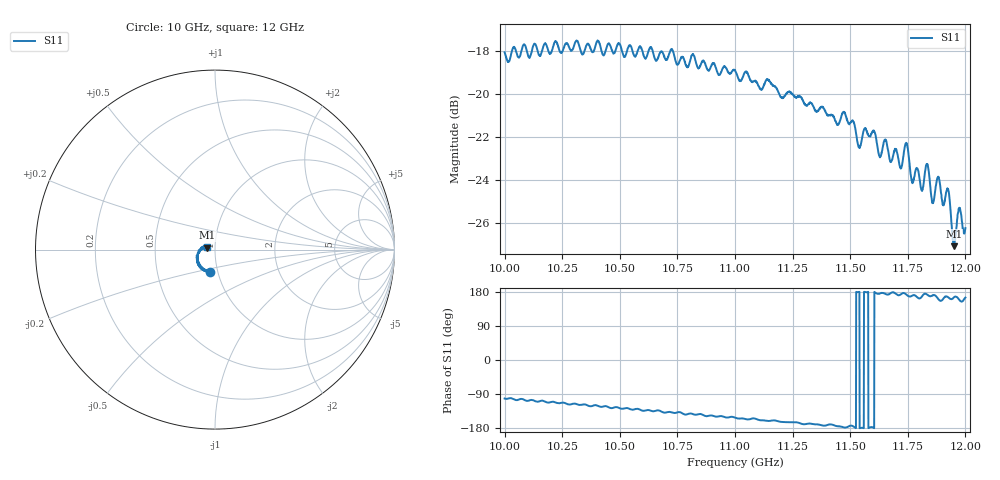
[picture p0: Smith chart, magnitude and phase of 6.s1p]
[Version] 2.0
! Rohde & Schwarz Vector Network Analyzer
! Rohde-Schwarz,ZNL20-2Port,1323001220200009,1.71.1.10-23.02.1.238
! Port Assignments:
! Nominal Port -> Actual Test Port
!  1 -> 1
! Created: GMT 2024-09-04 10:32:01
# Hz S DB R 50
[Number of Ports] 1
! freq[Hz]  S11[mag dB]  S11[ang]
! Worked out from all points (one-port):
!   2001 points, 10 GHz to 12 GHz, reference 50 ohm
!   lowest |S11| = -27.1 dB at 11.95 GHz (marker M1), VSWR 1.09, Z = 45.9 + j1.04 ohm
!   |S11| at or under -10 dB: start of sweep to end of sweep
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[Number of Frequencies] 28
[Network Data]
1e10  -18.06 -101.7
1.025e10  -18.03 -112.6
1.05e10  -17.69 -127.2
1.0658e10  -18.46 -133.5
1.0725e10  -17.91 -138.1
1.075e10  -18.64 -138.2
1.0817e10  -18.17 -142.6
1.1e10  -18.88 -151.8
1.125e10  -20.00 -164.2
1.15e10  -21.35 -173.3
1.1539e10  -22.45 179.8
1.1566e10  -21.58 178.9
1.1604e10  -21.72 -179.9
1.1628e10  -22.91 175.3
1.1653e10  -22.11 174.3
1.1718e10  -23.38 172.4
1.175e10  -22.52 169.7
1.177e10  -24.14 170.1
1.179e10  -23.44 166.2
1.1812e10  -24.50 167.9
1.1833e10  -23.26 173.1
1.1858e10  -25.04 170.4
1.1881e10  -23.85 162.0
1.1903e10  -25.10 160.6
1.1923e10  -24.42 166.2
1.195e10  -27.06 165.2
1.1973e10  -25.33 159.2
1.2e10  -26.22 164.7
[End]
